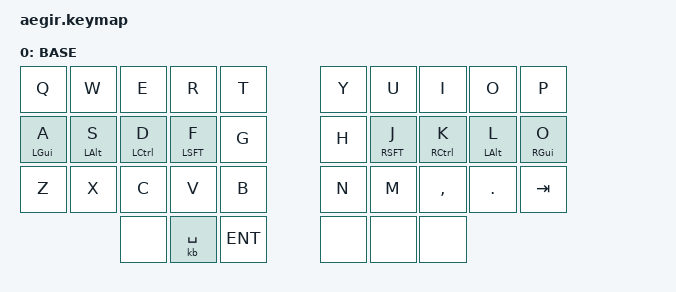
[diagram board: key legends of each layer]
#include <behaviors.dtsi>
#include <dt-bindings/zmk/keys.h>
#include <dt-bindings/zmk/bt.h>
#include <dt-bindings/zmk/outputs.h>

#define BASE 0
#define SYM 1
#define NAV 2
#define ADJ 3

&mt {
quick-tap-ms = <100>;
global-quick-tap;
flavor = "tap-preferred";
tapping-term-ms = <170>;
};

&lt {
quick-tap-ms = <100>;
global-quick-tap;
flavor = "hold-preferred";
tapping-term-ms = <170>;
};

/ {
behaviors {
    ht: hold_tap {
        label = "hold_tap";
        compatible = "zmk,behavior-hold-tap";
        #binding-cells = <2>;
        flavor = "tap-preferred";
        tapping-term-ms = <220>;
        quick-tap-ms = <150>;
        global-quick-tap;
        bindings = <&kp>, <&kp>;
    };
};

    keymap {
            compatible = "zmk,keymap";
// ▄▄▄▄▄▄▄▄▄▄▄▄▄▄▄▄▄▄▄▄▄▄▄▄▄▄▄▄▄▄▄▄▄▄▄▄▄▄▄▄▄▄▄▄▄▄▄▄▄▄▄▄▄▄▄▄▄▄▄▄▄▄▄▄▄▄▄▄▄▄▄▄▄▄▄▄▄▄▄▄▄▄▄▄▄▄▄▄▄▄▄▄▄▄▄▄▄▄▄▄▄▄▄▄▄▄▄▄▄▄▄▄▄▄▄▄▄▄▄▄▄▄▄▄▄▄▄▄▄▄▄▄▄▄▄▄▄▄▄▄▄▄▄▄▄▄▄▄▄

            base_layer {
label= "BASE";
// ┏━━━━━━━━━━━┳━━━━━━━━━━━┳━━━━━━━━━━━┳━━━━━━━━━━━┳━━━━━━━━━━━┓   ┏━━━━━━━━━━━┳━━━━━━━━━━━┳━━━━━━━━━━━┳━━━━━━━━━━━┳━━━━━━━━━━━┓
// ┃     Q     ┃     W     ┃     E     ┃     R     ┃     T     ┃   ┃     Y     ┃     U     ┃     I     ┃     O     ┃     P     ┃
// ┣━━━━━━━━━━━╋━━━━━━━━━━━╋━━━━━━━━━━━╋━━━━━━━━━━━╋━━━━━━━━━━━┫   ┣━━━━━━━━━━━╋━━━━━━━━━━━╋━━━━━━━━━━━╋━━━━━━━━━━━╋━━━━━━━━━━━┫
// ┃     A     ┃     S     ┃     D     ┃     F     ┃     G     ┃   ┃     H     ┃     J     ┃     K     ┃     L     ┃    ESC    ┃
// ┣━━━━━━━━━━━╋━━━━━━━━━━━╋━━━━━━━━━━━╋━━━━━━━━━━━╋━━━━━━━━━━━┫   ┣━━━━━━━━━━━╋━━━━━━━━━━━╋━━━━━━━━━━━╋━━━━━━━━━━━╋━━━━━━━━━━━┫
// ┃     Z     ┃     X     ┃     C     ┃     V     ┃     B     ┃   ┃     N     ┃     M     ┃     ,     ┃     .     ┃    TAB    ┃
// ┗━━━━━━━━━━━┻━━━━━━━━━━━┻━━━━━━━━━━━╋━━━━━━━━━━━╋━━━━━━━━━━━┫   ┣━━━━━━━━━━━╋━━━━━━━━━━━╋━━━━━━━━━━━┻━━━━━━━━━━━┻━━━━━━━━━━━┛
//                                     ┃    MO(1)  ┃    SPC    ┃   ┃    ENT    ┃    MO(2)  ┃           
//                                     ┗━━━━━━━━━━━┻━━━━━━━━━━━┛   ┗━━━━━━━━━━━┻━━━━━━━━━━━┛
bindings = <
    &kp Q       &kp W       &kp E       &kp R       &kp T           &kp Y       &kp U       &kp I       &kp O       &kp P
    &ht LGUI A  &ht LALT S  &ht LCTL D  &ht LSFT F  &kp G           &kp H       &ht RSFT J  &ht RCTL K  &ht LALT L  &ht RGUI O
    &kp Z       &kp X       &kp C       &kp V       &kp B           &kp N       &kp M       &kp COMMA   &kp DOT     &kp TAB
                                        //&mo SYM     &kb SPACE       &kp ENT     &mo NAV
                                        &none     &kb SPACE       &kp ENT     &none &none &none
                    >;
            };
    };
};
